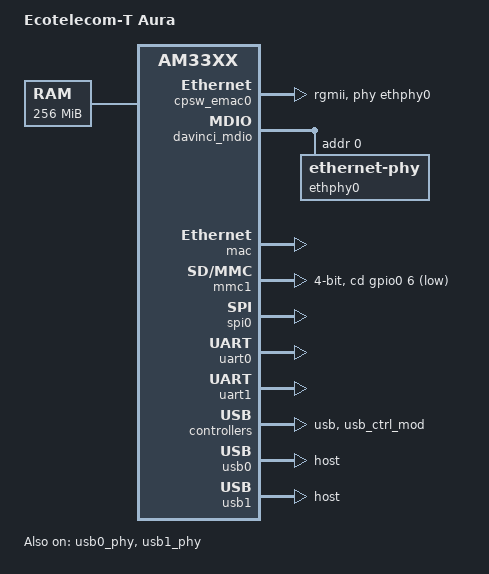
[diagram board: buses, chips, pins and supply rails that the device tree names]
// SPDX-License-Identifier: GPL-2.0-only
/*
 * Copyright (C) 2020 Ecotelecom-T
 */
/dts-v1/;

#include "am33xx.dtsi"

/ {
	model = "Ecotelecom-T Aura";
	compatible = "aura,am335x-aura", "ti,am33xx";

	memory@80000000 {
		device_type = "memory";
		reg = <0x80000000 0x10000000>; /* 256 MB */
	};

	buttons: user_buttons {
		compatible = "gpio-keys";
	};

	leds: user_leds {
		compatible = "gpio-leds";
	};
};

/* Ethernet */
&cpsw_emac0 {
	status = "okay";
	phy-handle = <&ethphy0>;
	phy-mode = "rgmii";
};


&davinci_mdio {
	status = "okay";
	pinctrl-names = "default";
	pinctrl-0 = <&mdio_pins>;

	ethphy0: ethernet-phy@0 {
		reg = <0>;
	};
};

&mac {
	status = "okay";
	pinctrl-names = "default";
	pinctrl-0 = <&ethernet_pins>;
};


&am33xx_pinmux {
	ethernet_pins: pinmux_ethernet {
		pinctrl-single,pins = <
			AM33XX_PADCONF(AM335X_PIN_MII1_TX_EN, PIN_OUTPUT_PULLDOWN, MUX_MODE2)	/* mii1_txen.rgmii1_tctl */
			AM33XX_PADCONF(AM335X_PIN_MII1_RX_DV, PIN_INPUT_PULLUP, MUX_MODE2)	/* mii1_rxdv.rgmii1_rctl */
			AM33XX_PADCONF(AM335X_PIN_MII1_TXD3, PIN_OUTPUT_PULLDOWN, MUX_MODE2)	/* mii1_txd3.rgmii1_td3 */
			AM33XX_PADCONF(AM335X_PIN_MII1_TXD2, PIN_OUTPUT_PULLDOWN, MUX_MODE2)	/* mii1_txd2.rgmii1_td2 */
			AM33XX_PADCONF(AM335X_PIN_MII1_TXD1, PIN_OUTPUT_PULLDOWN, MUX_MODE2)	/* mii1_txd1.rgmii1_td1 */
			AM33XX_PADCONF(AM335X_PIN_MII1_TXD0, PIN_OUTPUT_PULLDOWN, MUX_MODE2)	/* mii1_txd0.rgmii1_td0 */
			AM33XX_PADCONF(AM335X_PIN_MII1_TX_CLK, PIN_INPUT_PULLUP, MUX_MODE2)
			AM33XX_PADCONF(AM335X_PIN_MII1_RX_CLK, PIN_INPUT_PULLUP, MUX_MODE2)
			AM33XX_PADCONF(AM335X_PIN_MII1_RXD3, PIN_INPUT_PULLUP, MUX_MODE2)
			AM33XX_PADCONF(AM335X_PIN_MII1_RXD2, PIN_INPUT_PULLUP, MUX_MODE2)
			AM33XX_PADCONF(AM335X_PIN_MII1_RXD1, PIN_INPUT_PULLUP, MUX_MODE2)
			AM33XX_PADCONF(AM335X_PIN_MII1_RXD0, PIN_INPUT_PULLUP, MUX_MODE2)
			/* ethernet interrupt */
			AM33XX_PADCONF(AM335X_PIN_RMII1_REF_CLK, PIN_INPUT_PULLUP, MUX_MODE7)	/* rmii2_refclk.gpio0_29 */
			/* ethernet PHY nReset */
			AM33XX_PADCONF(AM335X_PIN_MII1_COL, PIN_OUTPUT_PULLUP, MUX_MODE7)	/* mii1_col.gpio3_0 */
		>;
	};

	mdio_pins: pinmux_mdio {
		pinctrl-single,pins = <
			AM33XX_PADCONF(AM335X_PIN_MDIO, PIN_INPUT_PULLUP | SLEWCTRL_FAST, MUX_MODE0)
			AM33XX_PADCONF(AM335X_PIN_MDC, PIN_OUTPUT_PULLUP, MUX_MODE0)
		>;
	};
};

/* MMC */
&mmc1 {
	/* Bootable SD card slot */
	status = "okay";
	bus-width = <4>;
	pinctrl-names = "default";
	pinctrl-0 = <&sd_pins>;
	cd-gpios = <&gpio0 6 GPIO_ACTIVE_LOW>;
};

&mmc2 {
	/* eMMC (not populated) on MMC #2 */
	status = "disabled";
	pinctrl-names = "default";
	pinctrl-0 = <&emmc_pins>;
	bus-width = <8>;
	ti,non-removable;
};

&am33xx_pinmux {
	sd_pins: pinmux_sd_card {
		pinctrl-single,pins = <
			AM33XX_PADCONF(AM335X_PIN_MMC0_DAT3, PIN_INPUT_PULLUP, MUX_MODE0)
			AM33XX_PADCONF(AM335X_PIN_MMC0_DAT2, PIN_INPUT_PULLUP, MUX_MODE0)
			AM33XX_PADCONF(AM335X_PIN_MMC0_DAT1, PIN_INPUT_PULLUP, MUX_MODE0)
			AM33XX_PADCONF(AM335X_PIN_MMC0_DAT0, PIN_INPUT_PULLUP, MUX_MODE0)
			AM33XX_PADCONF(AM335X_PIN_MMC0_CLK, PIN_INPUT_PULLUP, MUX_MODE0)
			AM33XX_PADCONF(AM335X_PIN_MMC0_CMD, PIN_INPUT_PULLUP, MUX_MODE0)
			AM33XX_PADCONF(AM335X_PIN_SPI0_CS1, PIN_INPUT, MUX_MODE7)		/* spi0_cs1.gpio0_6 */
		>;
	};
	emmc_pins: pinmux_emmc {
		pinctrl-single,pins = <
			AM33XX_PADCONF(AM335X_PIN_GPMC_CSN1, PIN_INPUT_PULLUP, MUX_MODE2)	/* gpmc_csn1.mmc1_clk */
			AM33XX_PADCONF(AM335X_PIN_GPMC_CSN2, PIN_INPUT_PULLUP, MUX_MODE2)	/* gpmc_csn2.mmc1_cmd */
			AM33XX_PADCONF(AM335X_PIN_GPMC_AD0, PIN_INPUT_PULLUP, MUX_MODE1)	/* gpmc_ad0.mmc1_dat0 */
			AM33XX_PADCONF(AM335X_PIN_GPMC_AD1, PIN_INPUT_PULLUP, MUX_MODE1)	/* gpmc_ad1.mmc1_dat1 */
			AM33XX_PADCONF(AM335X_PIN_GPMC_AD2, PIN_INPUT_PULLUP, MUX_MODE1)	/* gpmc_ad2.mmc1_dat2 */
			AM33XX_PADCONF(AM335X_PIN_GPMC_AD3, PIN_INPUT_PULLUP, MUX_MODE1)	/* gpmc_ad3.mmc1_dat3 */
			AM33XX_PADCONF(AM335X_PIN_GPMC_AD4, PIN_INPUT_PULLUP, MUX_MODE1)	/* gpmc_ad4.mmc1_dat4 */
			AM33XX_PADCONF(AM335X_PIN_GPMC_AD5, PIN_INPUT_PULLUP, MUX_MODE1)	/* gpmc_ad5.mmc1_dat5 */
			AM33XX_PADCONF(AM335X_PIN_GPMC_AD6, PIN_INPUT_PULLUP, MUX_MODE1)	/* gpmc_ad6.mmc1_dat6 */
			AM33XX_PADCONF(AM335X_PIN_GPMC_AD7, PIN_INPUT_PULLUP, MUX_MODE1)	/* gpmc_ad7.mmc1_dat7 */
			/* EMMC nReset */
			AM33XX_PADCONF(AM335X_PIN_GPMC_WPN, PIN_OUTPUT_PULLUP, MUX_MODE7)	/* gpmc_wpn.gpio0_31 */
		>;
	};
};


/* SPI Busses */
&spi0 {
	status = "okay";
	pinctrl-names = "default";
	pinctrl-0 = <&spi0_pins>;
};

&am33xx_pinmux {
	spi0_pins: pinmux_spi0 {
		pinctrl-single,pins = <
			AM33XX_PADCONF(AM335X_PIN_SPI0_SCLK, PIN_INPUT_PULLUP, MUX_MODE0)
			AM33XX_PADCONF(AM335X_PIN_SPI0_CS0, PIN_INPUT_PULLUP, MUX_MODE0)
			AM33XX_PADCONF(AM335X_PIN_SPI0_D0, PIN_INPUT_PULLUP, MUX_MODE0)
			AM33XX_PADCONF(AM335X_PIN_SPI0_D1, PIN_INPUT_PULLUP, MUX_MODE0)
		>;
	};
};


/* UARTs */
&uart0 {
	/* Serial Console */
	status = "okay";
	pinctrl-names = "default";
	pinctrl-0 = <&uart0_pins>;
};

&uart1 {
	/* Broken out to J6 header */
	status = "okay";
	pinctrl-names = "default";
	pinctrl-0 = <&uart1_pins>;
};

&am33xx_pinmux {
	uart0_pins: pinmux_uart0 {
		pinctrl-single,pins = <
			AM33XX_PADCONF(AM335X_PIN_UART0_RXD, PIN_INPUT_PULLUP, MUX_MODE0)
			AM33XX_PADCONF(AM335X_PIN_UART0_TXD, PIN_OUTPUT_PULLDOWN, MUX_MODE0)
		>;
	};
	uart1_pins: pinmux_uart1 {
		pinctrl-single,pins = <
			AM33XX_PADCONF(AM335X_PIN_UART1_CTSN, PIN_INPUT_PULLUP, MUX_MODE0)
			AM33XX_PADCONF(AM335X_PIN_UART1_RTSN, PIN_OUTPUT_PULLDOWN, MUX_MODE0)
			AM33XX_PADCONF(AM335X_PIN_UART1_RXD, PIN_INPUT_PULLUP, MUX_MODE0)
			AM33XX_PADCONF(AM335X_PIN_UART1_TXD, PIN_OUTPUT_PULLDOWN, MUX_MODE0)
		>;
	};
};

/* USB */
&usb {
	status = "okay";

	pinctrl-names = "default";
	pinctrl-0 = <&usb_pins>;
};

&usb_ctrl_mod {
	status = "okay";
};

&usb0_phy {
	status = "okay";
};

&usb1_phy {
	status = "okay";
};

&usb0 {
	status = "okay";
        dr_mode = "host";
};

&usb1 {
	status = "okay";
        dr_mode = "host";
};

&cppi41dma {
	status = "okay";
};

&am33xx_pinmux {
	usb_pins: pinmux_usb {
		pinctrl-single,pins = <
			/* USB0 Over-Current (active low) */
			AM33XX_PADCONF(AM335X_PIN_GPMC_A9, PIN_INPUT, MUX_MODE7)	/* gpmc_a9.gpio1_25 */
			/* USB1 Over-Current (active low) */
			AM33XX_PADCONF(AM335X_PIN_GPMC_A10, PIN_INPUT, MUX_MODE7)	/* gpmc_a10.gpio1_26 */
		>;
	};
};
